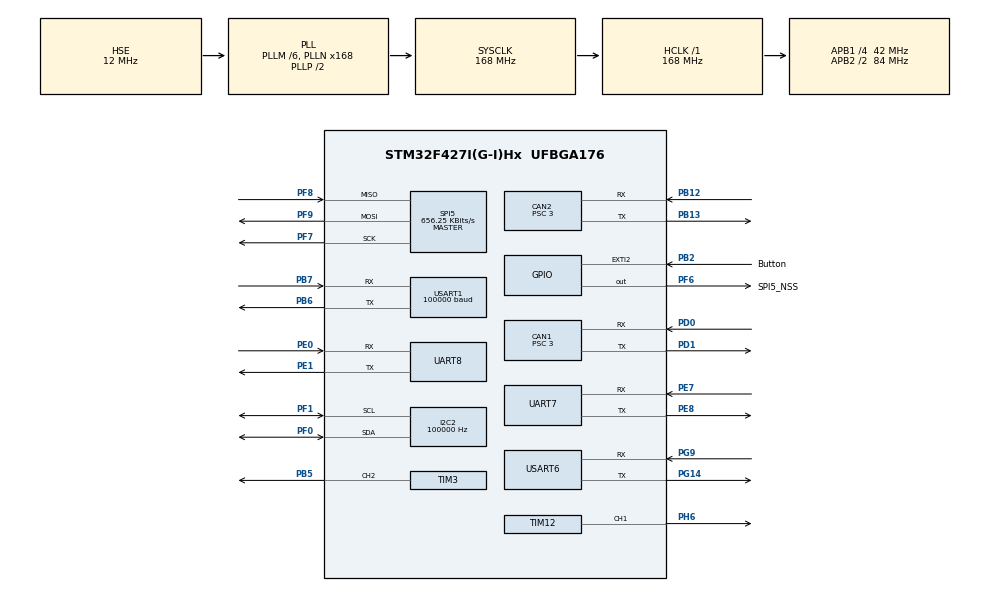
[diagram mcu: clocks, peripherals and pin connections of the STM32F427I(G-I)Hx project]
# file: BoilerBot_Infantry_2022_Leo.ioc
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CAN1.ABOM=ENABLE
CAN1.AWUM=ENABLE
CAN1.BS1=CAN_BS1_10TQ
CAN1.BS2=CAN_BS2_3TQ
CAN1.CalculateBaudRate=1000000
CAN1.CalculateTimeBit=1000
CAN1.CalculateTimeQuantum=71.42857142857143
CAN1.NART=ENABLE
CAN1.Prescaler=3
CAN2.ABOM=ENABLE
CAN2.AWUM=ENABLE
CAN2.BS1=CAN_BS1_10TQ
CAN2.BS2=CAN_BS2_3TQ
CAN2.CalculateBaudRate=1000000
CAN2.CalculateTimeBit=1000
CAN2.CalculateTimeQuantum=71.42857142857143
CAN2.NART=ENABLE
CAN2.Prescaler=3
CAN2.RFLM=ENABLE
Dma.Request0=USART1_RX
Dma.Request1=USART6_RX
Dma.Request2=UART7_RX
Dma.Request3=UART7_TX
Dma.UART7_RX.2.Direction=DMA_PERIPH_TO_MEMORY
Dma.UART7_RX.2.FIFOMode=DMA_FIFOMODE_DISABLE
Dma.UART7_RX.2.Instance=DMA1_Stream3
Dma.UART7_RX.2.MemDataAlignment=DMA_MDATAALIGN_BYTE
Dma.UART7_RX.2.MemInc=DMA_MINC_ENABLE
Dma.UART7_RX.2.Mode=DMA_CIRCULAR
Dma.UART7_RX.2.PeriphDataAlignment=DMA_PDATAALIGN_BYTE
Dma.UART7_RX.2.PeriphInc=DMA_PINC_DISABLE
Dma.UART7_RX.2.Priority=DMA_PRIORITY_HIGH
Dma.UART7_TX.3.Direction=DMA_MEMORY_TO_PERIPH
Dma.UART7_TX.3.FIFOMode=DMA_FIFOMODE_DISABLE
Dma.UART7_TX.3.Instance=DMA1_Stream1
Dma.UART7_TX.3.MemDataAlignment=DMA_MDATAALIGN_BYTE
Dma.UART7_TX.3.MemInc=DMA_MINC_ENABLE
Dma.UART7_TX.3.Mode=DMA_CIRCULAR
Dma.UART7_TX.3.PeriphDataAlignment=DMA_PDATAALIGN_BYTE
Dma.UART7_TX.3.PeriphInc=DMA_PINC_DISABLE
Dma.UART7_TX.3.Priority=DMA_PRIORITY_HIGH
Dma.USART1_RX.0.Direction=DMA_PERIPH_TO_MEMORY
Dma.USART1_RX.0.FIFOMode=DMA_FIFOMODE_DISABLE
Dma.USART1_RX.0.Instance=DMA2_Stream2
Dma.USART1_RX.0.MemDataAlignment=DMA_MDATAALIGN_BYTE
Dma.USART1_RX.0.MemInc=DMA_MINC_ENABLE
Dma.USART1_RX.0.Mode=DMA_CIRCULAR
Dma.USART1_RX.0.PeriphDataAlignment=DMA_PDATAALIGN_BYTE
Dma.USART1_RX.0.PeriphInc=DMA_PINC_DISABLE
Dma.USART1_RX.0.Priority=DMA_PRIORITY_LOW
Dma.USART6_RX.1.Direction=DMA_PERIPH_TO_MEMORY
Dma.USART6_RX.1.FIFOMode=DMA_FIFOMODE_DISABLE
Dma.USART6_RX.1.Instance=DMA2_Stream1
Dma.USART6_RX.1.MemDataAlignment=DMA_MDATAALIGN_BYTE
Dma.USART6_RX.1.MemInc=DMA_MINC_ENABLE
Dma.USART6_RX.1.Mode=DMA_CIRCULAR
Dma.USART6_RX.1.PeriphDataAlignment=DMA_PDATAALIGN_BYTE
Dma.USART6_RX.1.PeriphInc=DMA_PINC_DISABLE
Dma.USART6_RX.1.Priority=DMA_PRIORITY_LOW
FREERTOS.INCLUDE_vTaskDelayUntil=1
FREERTOS.Queues01=CAN1_Receive,32,CAN_Export_Data_t,0,Dynamic,NULL,NULL;CAN2_Receive,32,CAN_Export_Data_t,0,Dynamic,NULL,NULL;CAN_Send,32,CAN_Send_Data_t,0,Dynamic,NULL,NULL
FREERTOS.Tasks01=Task_IMU,0,384,StartIMUTask,Default,NULL,Dynamic,NULL,NULL;Task_Init,2,128,General_Init,Default,NULL,Dynamic,NULL,NULL;Task_CAN_Send,2,256,CAN_Send_ALL,Default,NULL,Dynamic,NULL,NULL;Task_CAN1_Rec,2,256,CAN1_Rec,Default,NULL,Dynamic,NULL,NULL;Task_CAN2_Rec,2,256,CAN2_Rec,Default,NULL,Dynamic,NULL,NULL;Task_Robot_Ctrl,3,640,Robot_Control,Default,NULL,Dynamic,NULL,NULL;Task_UI,0,256,UI_Draw,Default,NULL,Dynamic,NULL,NULL
FREERTOS.configTOTAL_HEAP_SIZE=20000
FREERTOS.configUSE_TIMERS=0
I2C2.Analog_Filter=I2C_ANALOGFILTER_DISABLE
I2C2.ClockSpeed=100000
I2C2.I2C_Mode=I2C_Standard
I2C2.OwnAddress=0
Mcu.Family=STM32F4
Mcu.Name=STM32F427I(G-I)Hx
Mcu.Package=UFBGA176
NVIC.CAN1_RX0_IRQn=true\:6\:0\:true\:false\:true\:false\:true\:false\:true
NVIC.CAN2_RX0_IRQn=true\:6\:0\:true\:false\:true\:false\:true\:false\:true
NVIC.DMA1_Stream1_IRQn=true\:5\:0\:false\:false\:true\:true\:false\:true\:true
NVIC.DMA1_Stream3_IRQn=true\:5\:0\:false\:false\:true\:true\:false\:true\:true
NVIC.DMA2_Stream1_IRQn=true\:5\:0\:false\:false\:true\:false\:false\:false\:true
NVIC.DMA2_Stream2_IRQn=true\:0\:0\:true\:false\:true\:false\:false\:false\:true
NVIC.EXTI2_IRQn=true\:5\:0\:false\:false\:true\:true\:true\:true\:true
NVIC.PriorityGroup=NVIC_PRIORITYGROUP_4
NVIC.TIM6_DAC_IRQn=true\:0\:0\:true\:false\:true\:false\:false\:true\:true
NVIC.TimeBase=TIM6_DAC_IRQn
NVIC.TimeBaseIP=TIM6
NVIC.USART1_IRQn=true\:5\:0\:true\:false\:true\:false\:true\:false\:true
NVIC.USART6_IRQn=true\:5\:0\:true\:false\:true\:false\:true\:false\:true
PA13.Mode=Serial_Wire
PA13.Signal=SYS_JTMS-SWDIO
PA14.Mode=Serial_Wire
PA14.Signal=SYS_JTCK-SWCLK
PB12.Mode=CAN_Activate
PB12.Signal=CAN2_RX
PB13.Mode=CAN_Activate
PB13.Signal=CAN2_TX
PB2/BOOT1.GPIO_Label=Button
PB2/BOOT1.GPIO_PuPd=GPIO_PULLUP
PB2/BOOT1.Signal=GPXTI2
PB5.Signal=S_TIM3_CH2
PB6.GPIO_PuPd=GPIO_PULLUP
PB6.Mode=Asynchronous
PB6.Signal=USART1_TX
PB7.GPIO_PuPd=GPIO_PULLUP
PB7.Mode=Asynchronous
PB7.Signal=USART1_RX
PD0.Mode=CAN_Activate
PD0.Signal=CAN1_RX
PD1.Mode=CAN_Activate
PD1.Signal=CAN1_TX
PE0.Mode=Asynchronous
PE0.Signal=UART8_RX
PE1.Mode=Asynchronous
PE1.Signal=UART8_TX
PE7.Mode=Asynchronous
PE7.Signal=UART7_RX
PE8.Mode=Asynchronous
PE8.Signal=UART7_TX
PF0.GPIO_Pu=GPIO_PULLUP
PF0.Mode=I2C
PF0.Signal=I2C2_SDA
PF1.GPIO_Pu=GPIO_PULLUP
PF1.Mode=I2C
PF1.Signal=I2C2_SCL
PF6.GPIO_Label=SPI5_NSS
PF6.GPIO_PuPd=GPIO_PULLUP
PF6.PinState=GPIO_PIN_SET
PF6.Signal=GPIO_Output
PF7.Mode=Full_Duplex_Master
PF7.Signal=SPI5_SCK
PF8.Mode=Full_Duplex_Master
PF8.Signal=SPI5_MISO
PF9.Mode=Full_Duplex_Master
PF9.Signal=SPI5_MOSI
PG14.Mode=Asynchronous
PG14.Signal=USART6_TX
PG9.Mode=Asynchronous
PG9.Signal=USART6_RX
PH0/OSC_IN.Mode=HSE-External-Oscillator
PH0/OSC_IN.Signal=RCC_OSC_IN
PH1/OSC_OUT.Mode=HSE-External-Oscillator
PH1/OSC_OUT.Signal=RCC_OSC_OUT
PH6.Signal=S_TIM12_CH1
ProjectManager.HeapSize=0x200
ProjectManager.StackSize=0x400
ProjectManager.TargetToolchain=MDK-ARM V5.32
RCC.48MHZClocksFreq_Value=48000000
RCC.AHBFreq_Value=168000000
RCC.APB1CLKDivider=RCC_HCLK_DIV4
RCC.APB1Freq_Value=42000000
RCC.APB1TimFreq_Value=84000000
RCC.APB2CLKDivider=RCC_HCLK_DIV2
RCC.APB2Freq_Value=84000000
RCC.APB2TimFreq_Value=168000000
RCC.CortexFreq_Value=168000000
RCC.HCLKFreq_Value=168000000
RCC.HSE_VALUE=12000000
RCC.HSI_VALUE=16000000
RCC.LSE_VALUE=32768
RCC.PLLM=6
RCC.PLLN=168
RCC.PLLQ=7
RCC.PLLSourceVirtual=RCC_PLLSOURCE_HSE
RCC.SYSCLKFreq_VALUE=168000000
RCC.SYSCLKSource=RCC_SYSCLKSOURCE_PLLCLK
RCC.VCOOutputFreq_Value=336000000
SH.S_TIM12_CH1.0=TIM12_CH1,PWM Generation1 CH1
SH.S_TIM3_CH2.0=TIM3_CH2,PWM Generation2 CH2
SPI5.BaudRatePrescaler=SPI_BAUDRATEPRESCALER_128
SPI5.CalculateBaudRate=656.25 KBits/s
SPI5.Direction=SPI_DIRECTION_2LINES
SPI5.Mode=SPI_MODE_MASTER
SPI5.VirtualType=VM_MASTER
TIM12.Channel-PWM\ Generation1\ CH1=TIM_CHANNEL_1
TIM12.Period=0
TIM12.Prescaler=42
TIM3.Channel-PWM\ Generation2\ CH2=TIM_CHANNEL_2
TIM3.Period=4999
TIM7.Period=50
TIM7.Prescaler=84
UART7.VirtualMode=Asynchronous
UART8.VirtualMode=Asynchronous
USART1.BaudRate=100000
USART1.VirtualMode=VM_ASYNC
USART6.VirtualMode=VM_ASYNC
VP_FREERTOS_VS_CMSIS_V1.Mode=CMSIS_V1
VP_SYS_VS_tim6.Mode=TIM6
VP_TIM12_VS_ClockSourceINT.Mode=Internal
VP_TIM3_VS_ClockSourceINT.Mode=Internal
VP_TIM7_VS_ClockSourceINT.Mode=Enable_Timer
board=custom

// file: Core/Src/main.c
/* USER CODE BEGIN Header */
/**
  ******************************************************************************
  * @file           : main.c
  * @brief          : Main program body
  ******************************************************************************
  * @attention
  *
  * Copyright (c) 2022 STMicroelectronics.
  * All rights reserved.
  *
  * This software is licensed under terms that can be found in the LICENSE file
  * in the root directory of this software component.
  * If no LICENSE file comes with this software, it is provided AS-IS.
  *
  ******************************************************************************
  */
/* USER CODE END Header */
#include "main.h"
#include "cmsis_os.h"
#include "can.h"
#include "dma.h"
#include "i2c.h"
#include "spi.h"
#include "tim.h"
#include "usart.h"
#include "gpio.h"

void SystemClock_Config(void);
void MX_FREERTOS_Init(void);

int main(void)
{

  /* MCU Configuration--------------------------------------------------------*/

  /* Reset of all peripherals, Initializes the Flash interface and the Systick. */
  HAL_Init();

  /* Configure the system clock */
  SystemClock_Config();

  /* Initialize all configured peripherals */
  MX_GPIO_Init();
  MX_DMA_Init();
  MX_TIM12_Init();
  MX_USART1_UART_Init();
  MX_SPI5_Init();
  MX_TIM3_Init();
  MX_CAN1_Init();
  MX_CAN2_Init();
  MX_I2C2_Init();
  MX_USART6_UART_Init();
  MX_UART7_Init();
  MX_TIM7_Init();
  MX_UART8_Init();

  /* Call init function for freertos objects (in freertos.c) */
  MX_FREERTOS_Init();

  /* Start scheduler */
  osKernelStart();

  /* We should never get here as control is now taken by the scheduler */
  /* Infinite loop */
  while (1)
  {

  }
}

void SystemClock_Config(void)
{
  RCC_OscInitTypeDef RCC_OscInitStruct = {0};
  RCC_ClkInitTypeDef RCC_ClkInitStruct = {0};

  /** Configure the main internal regulator output voltage
  */
  __HAL_RCC_PWR_CLK_ENABLE();
  __HAL_PWR_VOLTAGESCALING_CONFIG(PWR_REGULATOR_VOLTAGE_SCALE1);

  /** Initializes the RCC Oscillators according to the specified parameters
  * in the RCC_OscInitTypeDef structure.
  */
  RCC_OscInitStruct.OscillatorType = RCC_OSCILLATORTYPE_HSE;
  RCC_OscInitStruct.HSEState = RCC_HSE_ON;
  RCC_OscInitStruct.PLL.PLLState = RCC_PLL_ON;
  RCC_OscInitStruct.PLL.PLLSource = RCC_PLLSOURCE_HSE;
  RCC_OscInitStruct.PLL.PLLM = 6;
  RCC_OscInitStruct.PLL.PLLN = 168;
  RCC_OscInitStruct.PLL.PLLP = RCC_PLLP_DIV2;
  RCC_OscInitStruct.PLL.PLLQ = 7;
  if (HAL_RCC_OscConfig(&RCC_OscInitStruct) != HAL_OK)
  {
    Error_Handler();
  }

  /** Initializes the CPU, AHB and APB buses clocks
  */
  RCC_ClkInitStruct.ClockType = RCC_CLOCKTYPE_HCLK|RCC_CLOCKTYPE_SYSCLK
                              |RCC_CLOCKTYPE_PCLK1|RCC_CLOCKTYPE_PCLK2;
  RCC_ClkInitStruct.SYSCLKSource = RCC_SYSCLKSOURCE_PLLCLK;
  RCC_ClkInitStruct.AHBCLKDivider = RCC_SYSCLK_DIV1;
  RCC_ClkInitStruct.APB1CLKDivider = RCC_HCLK_DIV4;
  RCC_ClkInitStruct.APB2CLKDivider = RCC_HCLK_DIV2;

  if (HAL_RCC_ClockConfig(&RCC_ClkInitStruct, FLASH_LATENCY_5) != HAL_OK)
  {
    Error_Handler();
  }
}

void HAL_TIM_PeriodElapsedCallback(TIM_HandleTypeDef *htim)
{
  if (htim->Instance == TIM6) {
    HAL_IncTick();
  }
  /* USER CODE BEGIN Callback 1 */
	if(htim->Instance == TIM7)
	{
		HAL_IncTick();
		FreeRTOSRunTimeTicks++;
	}
  /* USER CODE END Callback 1 */
}

void Error_Handler(void)
{
  __disable_irq();
  while (1)
  {
  }
}

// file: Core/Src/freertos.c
/* USER CODE BEGIN Header */
/**
  ******************************************************************************
  * File Name          : freertos.c
  * Description        : Code for freertos applications
  ******************************************************************************
  * @attention
  *
  * Copyright (c) 2022 STMicroelectronics.
  * All rights reserved.
  *
  * This software is licensed under terms that can be found in the LICENSE file
  * in the root directory of this software component.
  * If no LICENSE file comes with this software, it is provided AS-IS.
  *
  ******************************************************************************
  */
/* USER CODE END Header */

#include "FreeRTOS.h"
#include "task.h"
#include "main.h"
#include "cmsis_os.h"

/* USER CODE BEGIN Includes */
#include <stdio.h>
#include "Board_A_IMU.h"
#include "IMU_Temp_Control.h"
#include "DR16_Remote.h"
#include "M3508_Motor.h"
#include "GM6020_Motor.h"
#include "M2006_Motor.h"
#include "Super_Capacitor.h"
#include "Robot_Control.h"
#include "MPU6050_IMU.h"
#include "WT901_IMU.h"
#include "Fusion.h"
#include "Referee_System.h"
#include "Buzzer.h"
#include "Jetson_Tx2.h"
#include "User_Interface.h"
/* USER CODE END Includes */

osThreadId Task_IMUHandle;
osThreadId Task_InitHandle;
osThreadId Task_CAN_SendHandle;
osThreadId Task_CAN1_RecHandle;
osThreadId Task_CAN2_RecHandle;
osThreadId Task_Robot_CtrlHandle;
osThreadId Task_UIHandle;
osMessageQId CAN1_ReceiveHandle;
osMessageQId CAN2_ReceiveHandle;
osMessageQId CAN_SendHandle;

void StartIMUTask(void const * argument);
void General_Init(void const * argument);
void CAN_Send_ALL(void const * argument);
void CAN1_Rec(void const * argument);
void CAN2_Rec(void const * argument);
void Robot_Control(void const * argument);
void UI_Draw(void const * argument);

void MX_FREERTOS_Init(void); /* (MISRA C 2004 rule 8.1) */

/* GetIdleTaskMemory prototype (linked to static allocation support) */
void vApplicationGetIdleTaskMemory( StaticTask_t **ppxIdleTaskTCBBuffer, StackType_t **ppxIdleTaskStackBuffer, uint32_t *pulIdleTaskStackSize );

/* USER CODE BEGIN GET_IDLE_TASK_MEMORY */
static StaticTask_t xIdleTaskTCBBuffer;
static StackType_t xIdleStack[configMINIMAL_STACK_SIZE];

void vApplicationGetIdleTaskMemory( StaticTask_t **ppxIdleTaskTCBBuffer, StackType_t **ppxIdleTaskStackBuffer, uint32_t *pulIdleTaskStackSize )
{
  *ppxIdleTaskTCBBuffer = &xIdleTaskTCBBuffer;
  *ppxIdleTaskStackBuffer = &xIdleStack[0];
  *pulIdleTaskStackSize = configMINIMAL_STACK_SIZE;
  /* place for user code */
}
/* USER CODE END GET_IDLE_TASK_MEMORY */

void MX_FREERTOS_Init(void) {

  /* Create the queue(s) */
  /* definition and creation of CAN1_Receive */
  osMessageQDef(CAN1_Receive, 32, CAN_Export_Data_t);
  CAN1_ReceiveHandle = osMessageCreate(osMessageQ(CAN1_Receive), NULL);

  /* definition and creation of CAN2_Receive */
  osMessageQDef(CAN2_Receive, 32, CAN_Export_Data_t);
  CAN2_ReceiveHandle = osMessageCreate(osMessageQ(CAN2_Receive), NULL);

  /* definition and creation of CAN_Send */
  osMessageQDef(CAN_Send, 32, CAN_Send_Data_t);
  CAN_SendHandle = osMessageCreate(osMessageQ(CAN_Send), NULL);

  /* Create the thread(s) */
  /* definition and creation of Task_IMU */
  osThreadDef(Task_IMU, StartIMUTask, osPriorityNormal, 0, 384);
  Task_IMUHandle = osThreadCreate(osThread(Task_IMU), NULL);

  /* definition and creation of Task_Init */
  osThreadDef(Task_Init, General_Init, osPriorityHigh, 0, 128);
  Task_InitHandle = osThreadCreate(osThread(Task_Init), NULL);

  /* definition and creation of Task_CAN_Send */
  osThreadDef(Task_CAN_Send, CAN_Send_ALL, osPriorityHigh, 0, 256);
  Task_CAN_SendHandle = osThreadCreate(osThread(Task_CAN_Send), NULL);

  /* definition and creation of Task_CAN1_Rec */
  osThreadDef(Task_CAN1_Rec, CAN1_Rec, osPriorityHigh, 0, 256);
  Task_CAN1_RecHandle = osThreadCreate(osThread(Task_CAN1_Rec), NULL);

  /* definition and creation of Task_CAN2_Rec */
  osThreadDef(Task_CAN2_Rec, CAN2_Rec, osPriorityHigh, 0, 256);
  Task_CAN2_RecHandle = osThreadCreate(osThread(Task_CAN2_Rec), NULL);

  /* definition and creation of Task_Robot_Ctrl */
  osThreadDef(Task_Robot_Ctrl, Robot_Control, osPriorityRealtime, 0, 640);
  Task_Robot_CtrlHandle = osThreadCreate(osThread(Task_Robot_Ctrl), NULL);

  /* definition and creation of Task_UI */
  osThreadDef(Task_UI, UI_Draw, osPriorityNormal, 0, 256);
  Task_UIHandle = osThreadCreate(osThread(Task_UI), NULL);

}

void StartIMUTask(void const * argument)
{
  /* USER CODE BEGIN StartIMUTask */
	portTickType xLastWakeTime;
  xLastWakeTime = xTaskGetTickCount();

  const TickType_t TimeIncrement = pdMS_TO_TICKS(1);
  /* Infinite loop */
  for(;;)
  {
		//Board_A_IMU_Func.Board_A_IMU_Calibrate(&Board_A_IMU);
		Board_A_IMU_Func.Board_A_IMU_Read_Data(&Board_A_IMU);
		Board_A_IMU_Func.Board_A_IMU_Calc_Angle(&Board_A_IMU);
		IMU_Temp_Control_Func.Board_A_IMU_Temp_Control();

		#ifdef USE_MPU6050
		MPU6050_IMU_Func.MPU6050_IMU_Calibrate(&MPU6050_IMU);
		MPU6050_IMU_Func.MPU6050_IMU_Read_Data(&MPU6050_IMU);
		MPU6050_IMU_Func.MPU6050_IMU_Calc_Angle(&MPU6050_IMU);
		#endif

    vTaskDelayUntil(&xLastWakeTime, TimeIncrement);
  }
  /* USER CODE END StartIMUTask */
}

void General_Init(void const * argument)
{
  /* USER CODE BEGIN General_Init */
  /* Infinite loop */
	Buzzer_Func.Buzzer_Init();
	//Buzzer_Func.Buzzer_Robot_Initializing();
  IMU_Temp_Control_Func.Board_A_IMU_Temp_Control_Init();
	Board_A_IMU_Func.Board_A_IMU_Init();
	#ifdef USE_MPU6050
	MPU6050_IMU_Func.MPU6050_IMU_Init();
	#endif
	FusionAhrsInitialise(&MPU6050_IMU_AHRS);
	FusionAhrsInitialise(&Board_A_IMU_AHRS);
	DR16_Func.DR16_USART_Receive_DMA(&huart1);
	Tx2_Func.Jetson_Tx2_Initialization();
	Referee_System_Func.Referee_UART_Receive_Interrupt(&huart6, Referee_System.Buffer, REFEREE_BUFFER_LEN);
	UI_Initialization();
	CAN_Func.CAN_IT_Init(&hcan1, CAN1_Type);
  CAN_Func.CAN_IT_Init(&hcan2, CAN2_Type);
	Gimbal_Func.Gimbal_Init();
	Shooting_Func.Shooting_Init();
	vTaskDelete(NULL);
  /* USER CODE END General_Init */
}

void CAN_Send_ALL(void const * argument)
{
  /* USER CODE BEGIN CAN_Send_ALL */
	CAN_Send_Data_t CAN_Send_Data;
  /* Infinite loop */
  for(;;)
  {
    xQueueReceive(CAN_SendHandle, &CAN_Send_Data, portMAX_DELAY);
    HAL_CAN_AddTxMessage(CAN_Send_Data.Canx, &CAN_Send_Data.CAN_TxHeader, CAN_Send_Data.CANx_Send_RxMessage, (uint32_t *)CAN_TX_MAILBOX0);
  }
  /* USER CODE END CAN_Send_ALL */
}

void CAN1_Rec(void const * argument)
{
  /* USER CODE BEGIN CAN1_Rec */
	CAN_Export_Data_t CAN_Export_Data;
	uint32_t ID;
  /* Infinite loop */
  for(;;)
  {
    xQueueReceive(CAN1_ReceiveHandle, &CAN_Export_Data, portMAX_DELAY);
		ID = CAN_Export_Data.CAN_RxHeader.StdId;
		if(ID == SUPERCAP_ID)
			Super_Capacitor_Func.Super_Capacitor_Get_Data(CAN_Export_Data);
		else if(ID >= M3508_CHASSIS_START_ID && ID <= M3508_CHASSIS_END_ID)
			M3508_Func.M3508_Chassis_Get_Data(CAN_Export_Data);
		else if(ID == GM6020_YAW_ID)
			GM6020_Func.GM6020_Yaw_Get_Data(CAN_Export_Data);
		else if(ID == GM6020_PITCH_ID)
			GM6020_Func.GM6020_Pitch_Get_Data(CAN_Export_Data);
		Monitor_CAN1.Info_Update_Frame++;
  }
  /* USER CODE END CAN1_Rec */
}

void CAN2_Rec(void const * argument)
{
  /* USER CODE BEGIN CAN2_Rec */
	CAN_Export_Data_t CAN_Export_Data;
	uint32_t ID;
  /* Infinite loop */
  for(;;)
  {
		xQueueReceive(CAN2_ReceiveHandle, &CAN_Export_Data, portMAX_DELAY);
		ID = CAN_Export_Data.CAN_RxHeader.StdId;
    if(ID == M3508_FRIC_WHEEL_LEFT_ID || ID == M3508_FRIC_WHEEL_RIGHT_ID)
			M3508_Func.M3508_Fric_Wheel_Get_Data(CAN_Export_Data);
		else if(ID == M2006_TRIGGER_ID)
			M2006_Func.M2006_Trigger_Get_Data(CAN_Export_Data);

		Monitor_CAN2.Info_Update_Frame++;
  }
  /* USER CODE END CAN2_Rec */
}

void Robot_Control(void const * argument)
{
  /* USER CODE BEGIN Robot_Control */
	portTickType xLastWakeTime;
  xLastWakeTime = xTaskGetTickCount();
  const TickType_t TimeIncrement = pdMS_TO_TICKS(2);
  /* Infinite loop */
  for(;;)
  {
    Robot_Control_Func.Robot_Control_Start();
		vTaskDelayUntil(&xLastWakeTime, TimeIncrement);
  }
  /* USER CODE END Robot_Control */
}

void UI_Draw(void const * argument)
{
  /* USER CODE BEGIN UI_Draw */
	osDelay (5000);
  portTickType xLastWakeTime;
  xLastWakeTime = xTaskGetTickCount();
  const TickType_t TimeIncrement = pdMS_TO_TICKS(100);
  /* Infinite loop */
  for(;;)
  {
				if(UI.Initialized_Flag == 0)
				{
							if(Referee_Robot_State.ID == 5)
				{
					UI.Pilot_ID = UI_Data_CilentID_RStandard3;
					UI.Robot_ID = UI_Data_RobotID_RStandard3;
				}
				else if(Referee_Robot_State.ID == 105)
				{
					UI.Pilot_ID = UI_Data_CilentID_BStandard3;
					UI.Robot_ID = UI_Data_RobotID_BStandard3;
				}
			UI_AimingSystem();
			UI_GuidingSystem();
			UI_TextSystem_Init();
			UI.Initialized_Flag = 1;
		}
		osDelay (1000);
//		memcpy (TextSystem.Text, "A_Test", 6);
//		TextSystem.TextNumber = 6;
//		UI_AutoText_Update();
		switch(Chassis.Current_Mode)
		{
			case(Follow_Gimbal):
				memcpy (TextSystem.Text, "FLGB", 4);
				break;
			case(Spin_Top):
				memcpy (TextSystem.Text, "SPIN", 4);
				break;
			default:
				memcpy (TextSystem.Text, "FLGB", 4);
				break;
		}
		TextSystem.TextNumber = 4;
		UI_StateText_Update();

		if(Shooting.Fric_Wheel.Turned_On)
		{
			memcpy (TextSystem.Text, "FRIC ON", 7);
			TextSystem.TextNumber = 7;
			UI_AutoText_Update();
		}
		else if(Shooting.Fric_Wheel.Turned_On == 0)
		{
			memcpy (TextSystem.Text, "FRIC OFF", 8);
			TextSystem.TextNumber = 8;
			UI_AutoText_Update();
		}

//		memcpy (TextSystem.Text, "A_Test2", 7);
//		TextSystem.TextNumber = 7;
//		UI_AutoText_Update();
//
//		memcpy (TextSystem.Text, "C_Test2", 7);
//		TextSystem.TextNumber = 7;
//		UI_SuperCapText_Update();
//
//		memcpy (TextSystem.Text, "S_Test2", 7);
//		TextSystem.TextNumber = 7;
//		UI_StateText_Update();

		vTaskDelayUntil(&xLastWakeTime, TimeIncrement);
  /* USER CODE END UI_Draw */
	}
}
